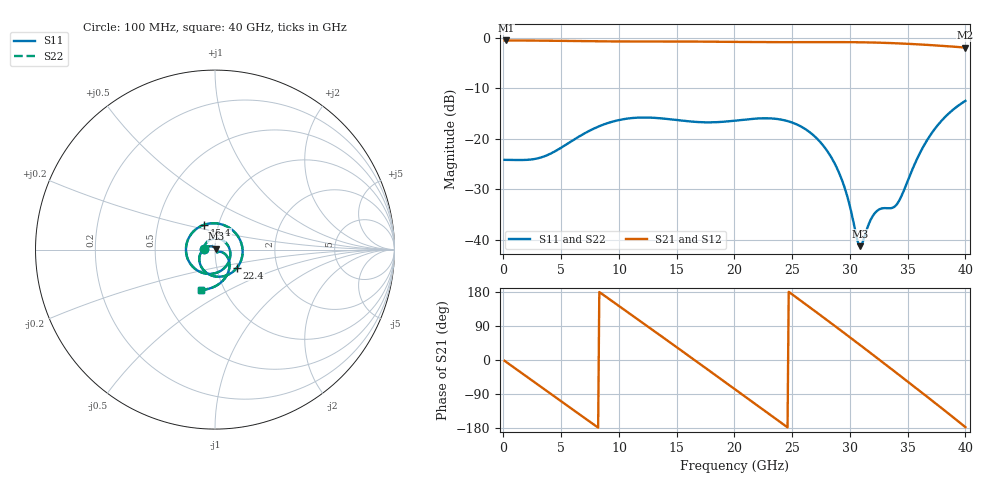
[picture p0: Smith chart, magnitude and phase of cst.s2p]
! A_s4_d200_ap1000: L1→L4 through L2/L3, drill Ø0.2, antipad Ø1, 4 GND vias at 1 mm
! stackup: 4-layer 1.6 mm FR-4
! ports: 1, 2
! CST Studio Suite 2025.5 Release from 2025-05-30, time domain (FIT, hexahedral, PBA), 136400 mesh cells, 29 s
! mesh: {'lpw': 20, 'lpb': 20, 'minstep': 0.0, 'ratio': 20}; ports: port 1 (face); port 2 (face)
! interpolated from CST's 1001 samples to the case grid
# Hz S RI R 50
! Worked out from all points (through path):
!   400 points, 100 MHz to 40 GHz, reference 50 ohm
!   highest |S21| = -0.55 dB at 200 MHz (marker M1); lowest = -2.0 dB at 40 GHz (marker M2)
!   group delay of S21, straight-line fit = 61.9 ps
!   lowest |S11| = -41.3 dB at 30.9 GHz (marker M3), VSWR 1.02, Z = 50.7 + j0.572 ohm
!   |S11| at or under -10 dB: start of sweep to end of sweep
!   |S22| runs from -41.2 to -12.5 dB; largest |S21 - S12| = 5.8e-07
!   S11 on the Smith chart (normalised r, x): 100 MHz: 0.88, +0.01; 15.4 GHz: 0.85, +0.24; 22.4 GHz: 1.25, -0.26; 40 GHz: 0.78, -0.37
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1e8  -0.0615 0.00366  0.9378 -0.0358  0.9378 -0.0358  -0.0615 0.00366
2e8  -0.0612 0.00731  0.9357 -0.0715  0.9357 -0.0715  -0.0612 0.00731
1.7e9  -0.0316 0.0527  0.7473 -0.5658  0.7473 -0.5658  -0.0316 0.0527
3.6e9  0.0425 0.052  0.1849 -0.9152  0.1849 -0.9152  0.0425 0.052
5.1e9  0.0826 -0.00296  -0.3365 -0.8665  -0.3365 -0.8665  0.0826 -0.00296
6.8e9  0.0655 -0.0872  -0.7849 -0.4882  -0.7849 -0.4882  0.0655 -0.0873
9.6e9  -0.0808 -0.1252  -0.8048 0.4412  -0.8048 0.4412  -0.0808 -0.1252
1.16e10  -0.1573 -0.0358  -0.2822 0.8715  -0.2822 0.8715  -0.1573 -0.0357
1.34e10  -0.1445 0.068  0.3314 0.854  0.3314 0.854  -0.1445 0.0681
1.54e10  -0.0605 0.1384  0.8298 0.3878  0.8298 0.3878  -0.0604 0.1384
1.76e10  0.0544 0.1344  0.8391 -0.3614  0.8391 -0.3614  0.0545 0.1344
2.01e10  0.1468 0.0351  0.1831 -0.8896  0.1831 -0.8896  0.1468 0.035
2.24e10  0.1234 -0.1003  -0.5701 -0.7014  -0.5701 -0.7014  0.1233 -0.1004
2.46e10  -0.000881 -0.1493  -0.9019 -0.0336  -0.9019 -0.0336  -0.000989 -0.1493
2.67e10  -0.0853 -0.0719  -0.6402 0.6376  -0.6402 0.6376  -0.0854 -0.0719
2.88e10  -0.0521 0.0113  0.04 0.9032  0.04 0.9032  -0.0521 0.0114
3.09e10  0.0065 0.00564  0.6985 0.568  0.6985 0.568  0.00657 0.00571
3.34e10  0.0132 -0.0156  0.836 -0.2918  0.836 -0.2918  0.0132 -0.0156
3.51e10  0.0381 -0.0142  0.4433 -0.7467  0.4433 -0.7467  0.0381 -0.0143
3.66e10  0.0754 -0.0546  -0.0724 -0.8464  -0.0724 -0.8464  0.0755 -0.0546
3.85e10  0.0483 -0.1682  -0.6339 -0.5235  -0.6339 -0.5235  0.0483 -0.1682
4e10  -0.0755 -0.2243  -0.796 -0.0401  -0.796 -0.0401  -0.0754 -0.2243
